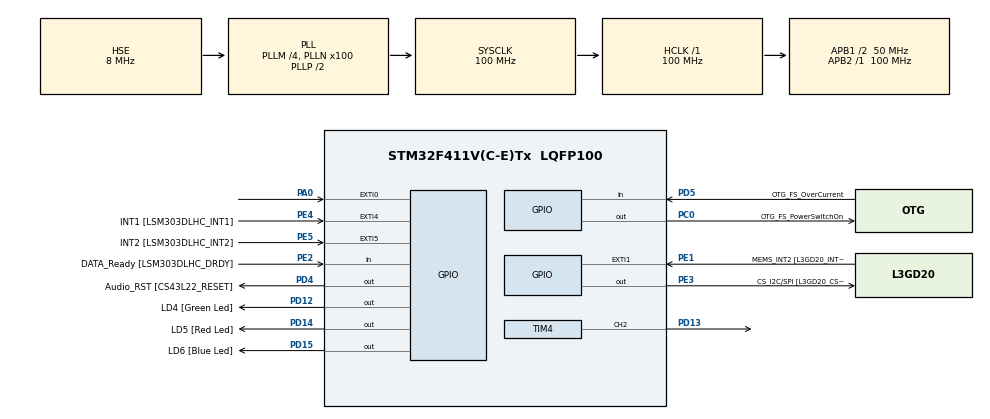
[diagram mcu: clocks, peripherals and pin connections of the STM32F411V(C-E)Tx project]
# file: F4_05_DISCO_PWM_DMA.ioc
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Dma.Request0=TIM4_CH2
Dma.TIM4_CH2.0.Direction=DMA_MEMORY_TO_PERIPH
Dma.TIM4_CH2.0.FIFOMode=DMA_FIFOMODE_DISABLE
Dma.TIM4_CH2.0.Instance=DMA1_Stream3
Dma.TIM4_CH2.0.MemDataAlignment=DMA_MDATAALIGN_HALFWORD
Dma.TIM4_CH2.0.MemInc=DMA_MINC_ENABLE
Dma.TIM4_CH2.0.Mode=DMA_CIRCULAR
Dma.TIM4_CH2.0.PeriphDataAlignment=DMA_PDATAALIGN_HALFWORD
Dma.TIM4_CH2.0.PeriphInc=DMA_PINC_DISABLE
Dma.TIM4_CH2.0.Priority=DMA_PRIORITY_LOW
Mcu.Family=STM32F4
Mcu.Name=STM32F411V(C-E)Tx
Mcu.Package=LQFP100
NVIC.DMA1_Stream3_IRQn=true\:0\:0\:false\:false\:true\:false\:true\:true
NVIC.PriorityGroup=NVIC_PRIORITYGROUP_0
PA0-WKUP.GPIO_ModeDefaultEXTI=GPIO_MODE_EVT_RISING
PA0-WKUP.Signal=GPXTI0
PA10.GPIO_Label=OTG_FS_ID
PA10.Signal=USB_OTG_FS_ID
PA11.GPIO_Label=OTG_FS_DM
PA11.Signal=USB_OTG_FS_DM
PA12.GPIO_Label=OTG_FS_DP
PA12.Signal=USB_OTG_FS_DP
PA13.GPIO_Label=SWDIO
PA13.Mode=Serial_Wire
PA13.Signal=SYS_JTMS-SWDIO
PA14.GPIO_Label=SWCLK
PA14.Mode=Serial_Wire
PA14.Signal=SYS_JTCK-SWCLK
PA4.GPIO_Label=I2S3_WS [CS43L22_LRCK]
PA4.GPIO_Mode=GPIO_MODE_AF_PP
PA4.GPIO_PuPd=GPIO_NOPULL
PA4.GPIO_Speed=GPIO_SPEED_FREQ_LOW
PA4.Signal=I2S3_WS
PA5.GPIO_Label=SPI1_SCK [L3GD20_SC/SPC]
PA5.Signal=SPI1_SCK
PA6.GPIO_Label=SPI1_MISO [L3GD20_AS0/SDO]
PA6.Signal=SPI1_MISO
PA7.GPIO_Label=SPI1_MOSI [L3GD20_SDA/SDI/SDO]
PA7.Signal=SPI1_MOSI
PA9.GPIO_Label=VBUS_FS
PA9.Signal=USB_OTG_FS_VBUS
PB10.GPIO_Label=CLK_IN [MP45DT02_CLK]
PB10.Signal=I2S2_CK
PB12.Signal=I2S2_WS
PB3.GPIO_Label=SWO
PB3.Signal=SYS_JTDO-SWO
PB6.GPIO_Label=Audio_SCL [CS43L22_SCL]
PB6.GPIO_Mode=GPIO_MODE_AF_OD
PB6.GPIO_Pu=GPIO_PULLUP
PB6.GPIO_PuPd=GPIO_NOPULL
PB6.GPIO_Speed=GPIO_SPEED_FREQ_LOW
PB6.Signal=I2C1_SCL
PB9.GPIO_Label=Audio_SDA [CS43L22_SDA]
PB9.GPIO_Mode=GPIO_MODE_AF_OD
PB9.GPIO_Pu=GPIO_PULLUP
PB9.GPIO_PuPd=GPIO_NOPULL
PB9.GPIO_Speed=GPIO_SPEED_FREQ_LOW
PB9.Signal=I2C1_SDA
PC0.GPIO_Label=OTG_FS_PowerSwitchOn
PC0.PinState=GPIO_PIN_SET
PC0.Signal=GPIO_Output
PC10.GPIO_Label=I2S3_SCK [CS43L22_SCLK]
PC10.GPIO_Mode=GPIO_MODE_AF_PP
PC10.GPIO_PuPd=GPIO_NOPULL
PC10.GPIO_Speed=GPIO_SPEED_FREQ_LOW
PC10.Signal=I2S3_CK
PC12.GPIO_Label=I2S3_SD [CS43L22_SDIN]
PC12.GPIO_Mode=GPIO_MODE_AF_PP
PC12.GPIO_PuPd=GPIO_NOPULL
PC12.GPIO_Speed=GPIO_SPEED_FREQ_LOW
PC12.Signal=I2S3_SD
PC14-OSC32_IN.GPIO_Label=PC14-OSC32_IN
PC14-OSC32_IN.Signal=RCC_OSC32_IN
PC15-OSC32_OUT.GPIO_Label=PC15-OSC32_OUT
PC15-OSC32_OUT.Signal=RCC_OSC32_OUT
PC3.GPIO_Label=PDM_OUT [MP45DT02_DOUT]
PC3.Signal=I2S2_SD
PC7.GPIO_Label=I2S3_MCK [CS43L22_MCLK]
PC7.GPIO_Mode=GPIO_MODE_AF_PP
PC7.GPIO_PuPd=GPIO_NOPULL
PC7.GPIO_Speed=GPIO_SPEED_FREQ_LOW
PC7.Signal=I2S3_MCK
PD12.GPIO_Label=LD4 [Green Led]
PD12.GPIO_PuPd=GPIO_NOPULL
PD12.GPIO_Speed=GPIO_SPEED_FREQ_LOW
PD12.Signal=GPIO_Output
PD13.Signal=S_TIM4_CH2
PD14.GPIO_Label=LD5 [Red Led]
PD14.GPIO_PuPd=GPIO_NOPULL
PD14.GPIO_Speed=GPIO_SPEED_FREQ_LOW
PD14.Signal=GPIO_Output
PD15.GPIO_Label=LD6 [Blue Led]
PD15.GPIO_PuPd=GPIO_NOPULL
PD15.GPIO_Speed=GPIO_SPEED_FREQ_LOW
PD15.Signal=GPIO_Output
PD4.GPIO_Label=Audio_RST [CS43L22_RESET]
PD4.Signal=GPIO_Output
PD5.GPIO_Label=OTG_FS_OverCurrent
PD5.Signal=GPIO_Input
PE1.GPIO_Label=MEMS_INT2 [L3GD20_INT2]
PE1.GPIO_ModeDefaultEXTI=GPIO_MODE_EVT_RISING
PE1.Signal=GPXTI1
PE2.GPIO_Label=DATA_Ready [LSM303DLHC_DRDY]
PE2.Signal=GPIO_Input
PE3.GPIO_Label=CS_I2C/SPI [L3GD20_CS_I2C/SPI]
PE3.Signal=GPIO_Output
PE4.GPIO_Label=INT1 [LSM303DLHC_INT1]
PE4.GPIO_ModeDefaultEXTI=GPIO_MODE_EVT_RISING
PE4.Signal=GPXTI4
PE5.GPIO_Label=INT2 [LSM303DLHC_INT2]
PE5.GPIO_ModeDefaultEXTI=GPIO_MODE_EVT_RISING
PE5.Signal=GPXTI5
PH0\ -\ OSC_IN.GPIO_Label=PH0-OSC_IN
PH0\ -\ OSC_IN.Mode=HSE-External-Oscillator
PH0\ -\ OSC_IN.Signal=RCC_OSC_IN
PH1\ -\ OSC_OUT.GPIO_Label=PH1-OSC_OUT
PH1\ -\ OSC_OUT.Mode=HSE-External-Oscillator
PH1\ -\ OSC_OUT.Signal=RCC_OSC_OUT
ProjectManager.HeapSize=0x200
ProjectManager.StackSize=0x400
ProjectManager.TargetToolchain=STM32CubeIDE
RCC.48MHZClocksFreq_Value=25000000
RCC.AHBFreq_Value=100000000
RCC.APB1CLKDivider=RCC_HCLK_DIV2
RCC.APB1Freq_Value=50000000
RCC.APB1TimFreq_Value=100000000
RCC.APB2Freq_Value=100000000
RCC.APB2TimFreq_Value=100000000
RCC.CortexFreq_Value=100000000
RCC.HCLKFreq_Value=100000000
RCC.HSE_VALUE=8000000
RCC.HSI_VALUE=16000000
RCC.LSE_VALUE=32768
RCC.PLLI2SM=5
RCC.PLLI2SN=200
RCC.PLLM=4
RCC.PLLN=100
RCC.PLLQ=8
RCC.PLLSourceVirtual=RCC_PLLSOURCE_HSE
RCC.SYSCLKFreq_VALUE=100000000
RCC.SYSCLKSource=RCC_SYSCLKSOURCE_PLLCLK
RCC.VCOOutputFreq_Value=200000000
SH.S_TIM4_CH2.0=TIM4_CH2,PWM Generation2 CH2
TIM4.Channel-PWM\ Generation2\ CH2=TIM_CHANNEL_2
TIM4.Period=99
TIM4.Prescaler=4999
VP_TIM4_VS_ClockSourceINT.Mode=Internal
board=STM32F411E-DISCO

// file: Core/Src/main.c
/* USER CODE BEGIN Header */
/**
  ******************************************************************************
  * @file           : main.c
  * @brief          : Main program body
  ******************************************************************************
  * @attention
  *
  * Copyright (c) 2023 STMicroelectronics.
  * All rights reserved.
  *
  * This software is licensed under terms that can be found in the LICENSE file
  * in the root directory of this software component.
  * If no LICENSE file comes with this software, it is provided AS-IS.
  *
  ******************************************************************************
  */
/* USER CODE END Header */
#include "main.h"
#include "dma.h"
#include "tim.h"
#include "gpio.h"

/* USER CODE BEGIN Includes */
#include <stdbool.h>
/* USER CODE END Includes */

/* USER CODE BEGIN PD */
#define INCREASING_TIME 4		// [s]
#define DECREASING_TIME 1		// [s]
#define DUTY_INCREMENTATION 100 // times
/* USER CODE END PD */

/* USER CODE BEGIN PV */
uint16_t interrupts_increase;
uint16_t interrupts_decrease;
uint8_t InterruptPrescaler = 0;
volatile bool IsIncreasing = true;
uint32_t Duty = 0;
/* USER CODE END PV */

void SystemClock_Config(void);
/* USER CODE BEGIN PFP */
void HAL_SYSTICK_Callback(void);
/* USER CODE END PFP */

int main(void)
{
  /* USER CODE BEGIN 1 */
	interrupts_increase = (uint16_t) (1000 * INCREASING_TIME) / DUTY_INCREMENTATION;
	interrupts_decrease = (uint16_t) (1000 * DECREASING_TIME) / DUTY_INCREMENTATION;
  /* USER CODE END 1 */

  /* MCU Configuration--------------------------------------------------------*/

  /* Reset of all peripherals, Initializes the Flash interface and the Systick. */
  HAL_Init();

  /* Configure the system clock */
  SystemClock_Config();

  /* Initialize all configured peripherals */
  MX_GPIO_Init();
  MX_DMA_Init();
  MX_TIM4_Init();
  /* USER CODE BEGIN 2 */
  HAL_TIM_PWM_Start_DMA(&htim4, TIM_CHANNEL_2, &Duty, 1);
  /* USER CODE END 2 */

  /* Infinite loop */
  while (1)
  {

  }
}

void SystemClock_Config(void)
{
  RCC_OscInitTypeDef RCC_OscInitStruct = {0};
  RCC_ClkInitTypeDef RCC_ClkInitStruct = {0};

  /** Configure the main internal regulator output voltage
  */
  __HAL_RCC_PWR_CLK_ENABLE();
  __HAL_PWR_VOLTAGESCALING_CONFIG(PWR_REGULATOR_VOLTAGE_SCALE1);

  /** Initializes the RCC Oscillators according to the specified parameters
  * in the RCC_OscInitTypeDef structure.
  */
  RCC_OscInitStruct.OscillatorType = RCC_OSCILLATORTYPE_HSE;
  RCC_OscInitStruct.HSEState = RCC_HSE_ON;
  RCC_OscInitStruct.PLL.PLLState = RCC_PLL_ON;
  RCC_OscInitStruct.PLL.PLLSource = RCC_PLLSOURCE_HSE;
  RCC_OscInitStruct.PLL.PLLM = 4;
  RCC_OscInitStruct.PLL.PLLN = 100;
  RCC_OscInitStruct.PLL.PLLP = RCC_PLLP_DIV2;
  RCC_OscInitStruct.PLL.PLLQ = 8;
  if (HAL_RCC_OscConfig(&RCC_OscInitStruct) != HAL_OK)
  {
    Error_Handler();
  }

  /** Initializes the CPU, AHB and APB buses clocks
  */
  RCC_ClkInitStruct.ClockType = RCC_CLOCKTYPE_HCLK|RCC_CLOCKTYPE_SYSCLK
                              |RCC_CLOCKTYPE_PCLK1|RCC_CLOCKTYPE_PCLK2;
  RCC_ClkInitStruct.SYSCLKSource = RCC_SYSCLKSOURCE_PLLCLK;
  RCC_ClkInitStruct.AHBCLKDivider = RCC_SYSCLK_DIV1;
  RCC_ClkInitStruct.APB1CLKDivider = RCC_HCLK_DIV2;
  RCC_ClkInitStruct.APB2CLKDivider = RCC_HCLK_DIV1;

  if (HAL_RCC_ClockConfig(&RCC_ClkInitStruct, FLASH_LATENCY_3) != HAL_OK)
  {
    Error_Handler();
  }
}

/* USER CODE BEGIN 4 */
void HAL_SYSTICK_Callback(void)
{
	InterruptPrescaler++;

	if (IsIncreasing && interrupts_increase == InterruptPrescaler)
	{
		InterruptPrescaler = 0;
		if (100 == ++Duty)
		{
			IsIncreasing = false;
		}
	}

	if (!IsIncreasing && interrupts_decrease == InterruptPrescaler)
	{
		InterruptPrescaler = 0;
		if (0 == --Duty)
		{
			IsIncreasing = true;
		}
	}
}
/* USER CODE END 4 */

void Error_Handler(void)
{
  __disable_irq();
  while (1)
  {
  }
}
